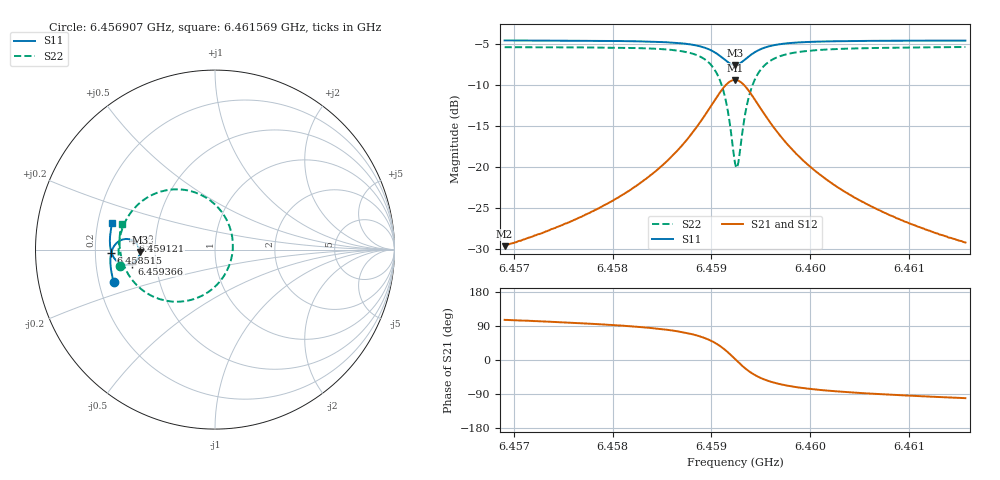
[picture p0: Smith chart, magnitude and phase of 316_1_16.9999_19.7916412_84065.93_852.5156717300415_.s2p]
#  HZ  S  RI  R  50.00
! Rohde & Schwarz Vector Network Analyzer
! Rohde-Schwarz,ZNB20-2Port,1311601062101988,3.16
! Created: UTC 3/20/2024, 11:06:12 PM
! freq[Hz]  re:S11  im:S11  re:S21  im:S21  re:S12  im:S12  re:S22  im:S22
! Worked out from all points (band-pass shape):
!   401 points, 6.456907 GHz to 6.461569 GHz, reference 50 ohm
!   highest |S21| = -9.36 dB at 6.459238 GHz (marker M1); lowest = -29.7 dB at 6.456907 GHz (marker M2)
!   |S21| within 3 dB of the highest: 6.459005 GHz to 6.459471 GHz (465.9 kHz wide, 0.00721 % of centre)
!   lowest |S11| = -7.5 dB at 6.459238 GHz (marker M3), VSWR 2.45, Z = 20.4 - j0.639 ohm
!   |S11| at or under -10 dB: nowhere
!   |S22| runs from -20.1 to -5.4 dB; largest |S21 - S12| = 0.013
!   S11 on the Smith chart (normalised r, x): 6.456907 GHz: 0.26, -0.14; 6.458515 GHz: 0.27, -0.02; 6.459121 GHz: 0.37, +0.05; 6.459366 GHz: 0.37, -0.07; 6.461569 GHz: 0.26, +0.12
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6.4569068e9  -0.5648 -0.1778  -0.00901 0.0316  -0.0073 0.0318  -0.5308 -0.0901
6.4576878e9  -0.5798 -0.1098  -0.0059 0.0494  -0.00343 0.0491  -0.5372 9.13e-05
6.4581191e9  -0.5831 -0.0669  -0.000189 0.0687  0.00309 0.0675  -0.5297 0.0672
6.4584687e9  -0.5797 -0.0254  0.0133 0.0974  0.0172 0.0946  -0.5055 0.1445
6.4585154e9  -0.5784 -0.019  0.0165 0.1026  0.0205 0.0998  -0.4992 0.1574
6.4587252e9  -0.5664 0.0128  0.0422 0.1341  0.0463 0.1295  -0.4512 0.2283
6.4588767e9  -0.5455 0.0393  0.0842 0.1641  0.0876 0.1577  -0.3742 0.2921
6.4590282e9  -0.4997 0.0591  0.1749 0.1833  0.1759 0.176  -0.2094 0.3357
6.4591215e9  -0.4555 0.0493  0.2636 0.1529  0.2641 0.1469  -0.0457 0.287
6.4591681e9  -0.4345 0.0307  0.3068 0.1108  0.3081 0.1053  0.0357 0.2123
6.459238e9  -0.4197 -0.0129  0.3399 0.0153  0.3432 0.00834  0.0993 0.036
6.4592497e9  -0.4201 -0.0208  0.3397 -0.0022  0.3434 -0.00977  0.0991 0.00311
6.459273e9  -0.4236 -0.0362  0.3344 -0.0363  0.3378 -0.0455  0.0882 -0.0613
6.4593313e9  -0.444 -0.067  0.2969 -0.1074  0.2981 -0.1196  0.0128 -0.194
6.4593663e9  -0.4607 -0.078  0.2651 -0.1359  0.2641 -0.1488  -0.0511 -0.2453
6.4594595e9  -0.5035 -0.0847  0.1818 -0.1668  0.1757 -0.1781  -0.2161 -0.2904
6.459611e9  -0.547 -0.0645  0.0953 -0.1537  0.0871 -0.1597  -0.3801 -0.2424
6.4597742e9  -0.5684 -0.0368  0.0512 -0.1264  0.0437 -0.1292  -0.459 -0.1719
6.460019e9  -0.581 -0.00131  0.0223 -0.0956  0.0166 -0.0961  -0.5063 -0.0908
6.460357e9  -0.5856 0.0387  0.00679 -0.0699  0.00264 -0.0694  -0.5272 -0.0148
6.4608e9  -0.5837 0.083  -0.00124 -0.0509  -0.00421 -0.0503  -0.5317 0.0551
6.4615693e9  -0.5716 0.1509  -0.0064 -0.034  -0.00801 -0.0331  -0.5202 0.1447
